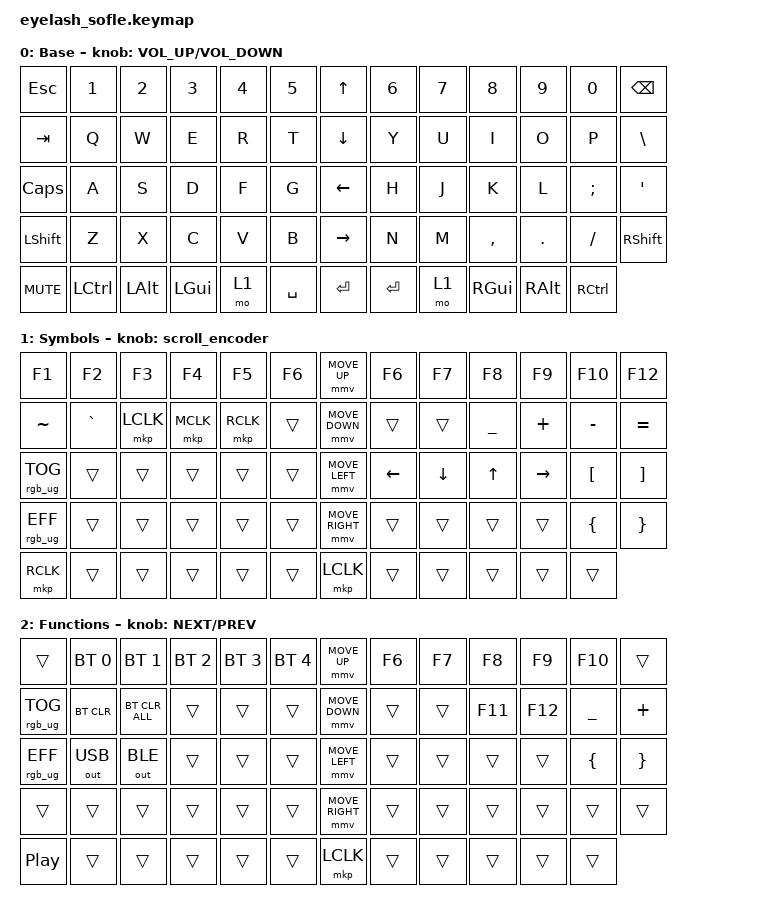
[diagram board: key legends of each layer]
#define ZMK_POINTING_DEFAULT_MOVE_VAL 1200  // 600
#define ZMK_POINTING_DEFAULT_SCRL_VAL 25   // 10

#include <input/processors.dtsi>
#include <zephyr/dt-bindings/input/input-event-codes.h>
#include <behaviors.dtsi>
#include <dt-bindings/zmk/bt.h>
#include <dt-bindings/zmk/keys.h>
#include <dt-bindings/zmk/outputs.h>
#include <dt-bindings/zmk/pointing.h>
#include <dt-bindings/zmk/rgb.h>

&mmv_input_listener { input-processors = <&zip_xy_scaler 2 1>; };

&msc_input_listener { input-processors = <&zip_scroll_scaler 2 1>; };

&msc {
    acceleration-exponent = <1>;      // 0
    time-to-max-speed-ms = <100>;       // 300
    delay-ms = <0>;                   // 0
};

&mmv {
    time-to-max-speed-ms = <500>;
    acceleration-exponent = <1>;
    trigger-period-ms = <16>;
};

&soft_off { hold-time-ms = <2000>; };

/ {
    scroll_encoder: scroll_encoder {
        compatible = "zmk,behavior-sensor-rotate";
        #sensor-binding-cells = <0>;
        bindings = <&msc SCRL_DOWN>, <&msc SCRL_UP>;

        tap-ms = <100>;
    };

    behaviors {
    };

    combos {
        compatible = "zmk,combos";

        softoff {
            bindings = <&soft_off>;
            key-positions = <14 28 40>;
        };

        Consumer_Previus {
            bindings = <&kp C_PREV>;
            key-positions = <53 54 55 32>;
        };

        Consumer_Next {
            bindings = <&kp C_NEXT>;
            key-positions = <53 54 55 45>;
        };

        Consumer_Play_Pause {
            bindings = <&kp C_PP>;
            key-positions = <53 54 55 58>;
        };

        Next_BT_Profile {
            bindings = <&bt BT_NXT>;
            key-positions = <63 62 61 0>;
        };
    };

    macros {
        SHIFT_MCLK: SHIFT_MCLK {
            compatible = "zmk,behavior-macro";
            #binding-cells = <0>;
            bindings =
                <&macro_press>,
                <&kp LEFT_SHIFT>,
                <&macro_press>,
                <&mkp MB3>,
                <&macro_pause_for_release>,
                <&macro_release>,
                <&kp LEFT_SHIFT &mkp MB3>;

            label = "SHIFT_MCLK";
        };
    };

    keymap {
        compatible = "zmk,keymap";

        layer0 {
            bindings = <
&kp ESC     &kp N1     &kp N2        &kp N3        &kp N4  &kp N5       &kp UP_ARROW     &kp N6     &kp N7  &kp N8         &kp N9         &kp N0             &kp BACKSPACE
&kp TAB     &kp Q      &kp W         &kp E         &kp R   &kp T        &kp DOWN_ARROW   &kp Y      &kp U   &kp I          &kp O          &kp P              &kp BSLH
&kp CAPS    &kp A      &kp S         &kp D         &kp F   &kp G        &kp LEFT_ARROW   &kp H      &kp J   &kp K          &kp L          &kp SEMI           &kp APOS
&kp LSHFT   &kp Z      &kp X         &kp C         &kp V   &kp B        &kp RIGHT_ARROW  &kp N      &kp M   &kp COMMA      &kp DOT        &kp FSLH           &kp RIGHT_SHIFT
&kp C_MUTE  &kp LCTRL  &kp LEFT_ALT  &kp LEFT_GUI  &mo 1   &kp SPACE    &kp ENTER        &kp ENTER  &mo 1   &kp RIGHT_GUI  &kp RIGHT_ALT  &kp RIGHT_CONTROL
            >;

            sensor-bindings = <&inc_dec_kp C_VOLUME_UP C_VOLUME_DOWN>;
            display-name = "Base";
        };

        layer_1 {
            bindings = <
&kp F1           &kp F2     &kp F3     &kp F4     &kp F5     &kp F6    &mmv MOVE_UP     &kp F6          &kp F7          &kp F8        &kp F9     &kp F10           &kp F12
&kp TILDE        &kp GRAVE  &mkp LCLK  &mkp MCLK  &mkp RCLK  &trans    &mmv MOVE_DOWN   &trans          &trans          &kp UNDER     &kp PLUS   &kp MINUS         &kp EQUAL
&rgb_ug RGB_TOG  &trans     &trans     &trans     &trans     &trans    &mmv MOVE_LEFT   &kp LEFT_ARROW  &kp DOWN_ARROW  &kp UP_ARROW  &kp RIGHT  &kp LEFT_BRACKET  &kp RIGHT_BRACKET
&rgb_ug RGB_EFF  &trans     &trans     &trans     &trans     &trans    &mmv MOVE_RIGHT  &trans          &trans          &trans        &trans     &kp LEFT_BRACE    &kp RIGHT_BRACE
&mkp RCLK        &trans     &trans     &trans     &trans     &trans    &mkp LCLK        &trans          &trans          &trans        &trans     &trans
            >;

            display-name = "Symbols";
            sensor-bindings = <&scroll_encoder>;
        };

        layer_2 {
            bindings = <
&trans            &bt BT_SEL 0  &bt BT_SEL 1    &bt BT_SEL 2  &bt BT_SEL 3  &bt BT_SEL 4    &mmv MOVE_UP     &kp F6  &kp F7  &kp F8   &kp F9   &kp F10    &trans
&rgb_ug RGB_TOG   &bt BT_CLR    &bt BT_CLR_ALL  &trans        &trans        &trans          &mmv MOVE_DOWN   &trans  &trans  &kp F11  &kp F12  &kp UNDER  &kp PLUS
&rgb_ug RGB_EFF   &out OUT_USB  &out OUT_BLE    &trans        &trans        &trans          &mmv MOVE_LEFT   &trans  &trans  &trans   &trans   &kp LBRC   &kp RBRC
&trans            &trans        &trans          &trans        &trans        &trans          &mmv MOVE_RIGHT  &trans  &trans  &trans   &trans   &trans     &trans
&kp C_PLAY_PAUSE  &trans        &trans          &trans        &trans        &trans          &mkp LCLK        &trans  &trans  &trans   &trans   &trans
            >;

            display-name = "Functions";
            sensor-bindings = <&inc_dec_kp C_NEXT C_PREV>;
        };
    };
};
